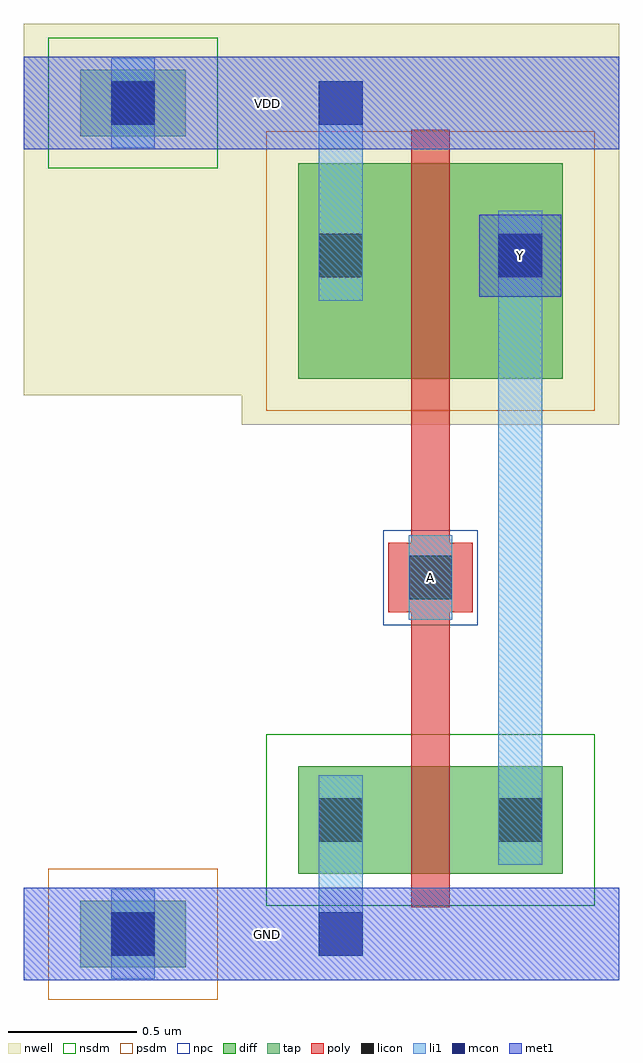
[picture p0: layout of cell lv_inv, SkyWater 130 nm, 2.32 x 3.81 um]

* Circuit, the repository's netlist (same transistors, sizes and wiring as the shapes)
* NGSPICE file created from lv_inv.ext - technology: sky130A

.subckt inv A Y VDD GND w_0_397# VSUBS
X0 Y A VDD w_0_397# sky130_fd_pr__pfet_01v8 ad=0.3696 pd=2.56 as=0.3696 ps=2.56 w=0.84 l=0.15
X1 Y A GND VSUBS sky130_fd_pr__nfet_01v8 ad=0.1848 pd=1.72 as=0.1848 ps=1.72 w=0.42 l=0.15
.ends

.subckt lv_inv A Y VDD GND
Xu A Y VDD GND VDD GND inv
.ends

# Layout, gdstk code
import gdstk
lib = gdstk.Library(unit=1e-6, precision=1e-09)
def R(c, l, rs):  # rectangles x0, y0, x1, y1
    for r in rs: c.add(gdstk.rectangle(r[:2], r[2:], *l))
nwell = (64, 20)
diff = (65, 20)
tap = (65, 44)
poly = (66, 20)
licon = (66, 44)
li1 = (67, 20)
mcon = (67, 44)
met1 = (68, 20)
nsdm = (93, 44)
psdm = (94, 20)
npc = (95, 20)

inv = lib.new_cell('inv')
R(inv, nwell, [(0,1.985,1.47,3.55)])
R(inv, diff, [(0.22,0.235,1.25,0.655), (0.22,2.165,1.25,3.005)])
R(inv, poly, [(0.66,0.105,0.81,1.255), (0.57,1.255,0.9,1.525), (0.66,1.525,0.81,3.135)])
R(inv, licon, [(0.3,0.36,0.47,0.53), (1,0.36,1.17,0.53), (0.65,1.305,0.82,1.475), (0.3,2.56,0.47,2.73), (1,2.56,1.17,2.73)])
R(inv, li1, [(0.3,-0.085,0.47,0.62), (1,0.27,1.17,2.82), (0.65,1.225,0.82,1.555), (0.3,2.47,0.47,3.325)])
R(inv, mcon, [(0.3,-0.085,0.47,0.085), (1,2.56,1.17,2.73), (0.3,3.155,0.47,3.325)])
R(inv, met1, [(0,-0.18,1.47,0.18), (0.925,2.485,1.245,2.805), (0,3.06,1.47,3.42)])
R(inv, nsdm, [(0.095,0.11,1.375,0.78)])
R(inv, psdm, [(0.095,2.04,1.375,3.13)])
R(inv, npc, [(0.55,1.205,0.92,1.575)])
inv.add(gdstk.Label('A', (0.735,1.39), layer=67, texttype=5))
inv.add(gdstk.Label('Y', (1.085,2.645), layer=68, texttype=5))
inv.add(gdstk.Label('VDD', (0.1,3.24), layer=68, texttype=5))
inv.add(gdstk.Label('GND', (0.1,0), layer=68, texttype=5))

tap_ = lib.new_cell('tap')
R(tap_, nwell, [(0,2.1,0.85,3.55)])
R(tap_, tap, [(0.22,-0.13,0.63,0.13), (0.22,3.11,0.63,3.37)])
R(tap_, licon, [(0.34,-0.085,0.51,0.085), (0.34,3.155,0.51,3.325)])
R(tap_, li1, [(0.34,-0.175,0.51,0.175), (0.34,3.065,0.51,3.415)])
R(tap_, mcon, [(0.34,-0.085,0.51,0.085), (0.34,3.155,0.51,3.325)])
R(tap_, met1, [(0,-0.18,0.85,0.18), (0,3.06,0.85,3.42)])
R(tap_, nsdm, [(0.095,2.985,0.755,3.495)])
R(tap_, psdm, [(0.095,-0.255,0.755,0.255)])
tap_.add(gdstk.Label('VDD', (0.1,3.24), layer=68, texttype=5))
tap_.add(gdstk.Label('GND', (0.1,0), layer=68, texttype=5))

lv_inv = lib.new_cell('lv_inv')
R(lv_inv, li1, [(1.5,1.305,1.67,1.475)])
R(lv_inv, met1, [(0.865,-0.085,1.035,0.085), (1.85,2.56,2.02,2.73), (0.865,3.155,1.035,3.325)])
lv_inv.add(gdstk.Reference(inv, (0.85,0)))
lv_inv.add(gdstk.Reference(tap_, (0,0)))
lv_inv.add(gdstk.Label('A', (1.585,1.39), layer=67, texttype=5))
lv_inv.add(gdstk.Label('Y', (1.935,2.645), layer=68, texttype=5))
lv_inv.add(gdstk.Label('VDD', (0.95,3.24), layer=68, texttype=5))
lv_inv.add(gdstk.Label('GND', (0.95,0), layer=68, texttype=5))

lib.write_gds('lv_inv.gds')
